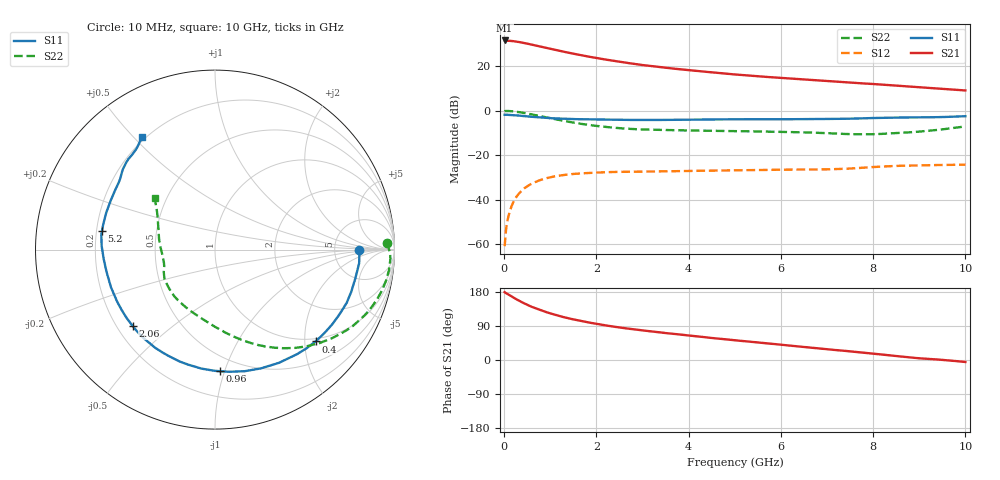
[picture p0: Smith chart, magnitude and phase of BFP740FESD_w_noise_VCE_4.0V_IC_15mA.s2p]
! Infineon Technologies  Discrete & RF Semiconductors
! BFP740FESD
! VCE =  4.0 V,  IC =  15 mA
! Common Emitter S-Parameters:  Jan 2016
# GHz  S  MA  R  50
!  f  S11  S21  S12  S22
! GHz  MAG  ANG  MAG  ANG  MAG  ANG  MAG  ANG
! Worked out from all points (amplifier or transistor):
!   233 points, 10 MHz to 10 GHz, reference 50 ohm
!   highest |S21| = 31.5 dB at 10 MHz (marker M1)
!   |S21| within 3 dB of that: start of sweep to 839.7 MHz
!   unconditionally stable (mu >= 1): start of sweep to 13.65 MHz; 6.022 GHz to end of sweep
!   at 200 MHz: K = 0.14, MSG = 36.1 dB, |S12| = -41.1 dB
!   at 1.74 GHz: K = 0.38, MSG = 26.4 dB, |S12| = -28.1 dB
!   at 10 GHz: K = 1.22, MAG = 13.8 dB, |S12| = -24.3 dB
!   lowest NFmin = 0.70 dB at 450 MHz
!   S11 on the Smith chart (normalised r, x): 10 MHz: 9.16, +0.00; 400 MHz: 0.93, -2.25; 960 MHz: 0.39, -0.97; 2.06 GHz: 0.26, -0.37; 5.2 GHz: 0.22, +0.08; 10 GHz: 0.19, +0.53
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0.01  0.8031 0.0  37.54 179.1  0.0009 26.9  0.9576 2.2
0.02  0.8047 -2.2  37.26 177.8  0.0012 47.5  0.9757 -1.0
0.15  0.7953 -16.7  36.62 168.6  0.0067 75.3  0.9686 -10.3
0.26  0.7802 -28.3  35.35 160.5  0.0113 72.1  0.9418 -17.6
0.4  0.7587 -42.4  33.41 151.6  0.0166 66.4  0.8956 -26.1
0.5  0.7407 -51.8  31.84 145.7  0.0199 62.3  0.8587 -31.7
0.6  0.7247 -60.5  30.23 140.2  0.0229 58.4  0.8196 -36.9
0.78  0.6989 -74.8  27.44 131.9  0.0274 52.2  0.7519 -45.3
0.96  0.6782 -87.5  24.95 124.6  0.031 46.8  0.6881 -52.9
1.12  0.6652 -97.6  22.94 118.7  0.0336 42.7  0.6369 -59.0
1.28  0.6545 -106.5  21.13 113.4  0.0356 39.1  0.5909 -64.7
1.4  0.6474 -112.7  19.86 109.8  0.0367 36.8  0.5591 -68.8
1.68  0.6363 -124.5  17.43 102.5  0.0389 32.2  0.5009 -77.0
2.06  0.6259 -137.1  14.78 94.3  0.0406 27.9  0.4452 -86.6
2.6  0.6177 -151.9  12.05 84.1  0.0421 23.4  0.3954 -99.3
3.4  0.6157 -166.7  9.39 72.6  0.0431 20.5  0.3674 -112.1
4  0.6224 -175.2  8.079 64.6  0.044 19.7  0.3575 -118.6
5.1  0.6383 171.5  6.35 50.9  0.0456 18.7  0.3439 -131.8
5.2  0.638 170.5  6.228 49.8  0.0457 18.7  0.3427 -132.9
6.8  0.6449 151.2  4.747 30.7  0.0477 19.3  0.3168 -153.7
8.4  0.6932 135.5  3.696 11.7  0.0565 21.3  0.3078 175.2
10  0.747 123.1  2.827 -5.3  0.0609 15.9  0.4407 139.6
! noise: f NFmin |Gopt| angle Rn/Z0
0.45  0.7  0.1  -3  0.09
2.4  0.74  0.04  45  0.1
5.5  0.9  0.24  150  0.08
10  1.43  0.37  -126  0.15
